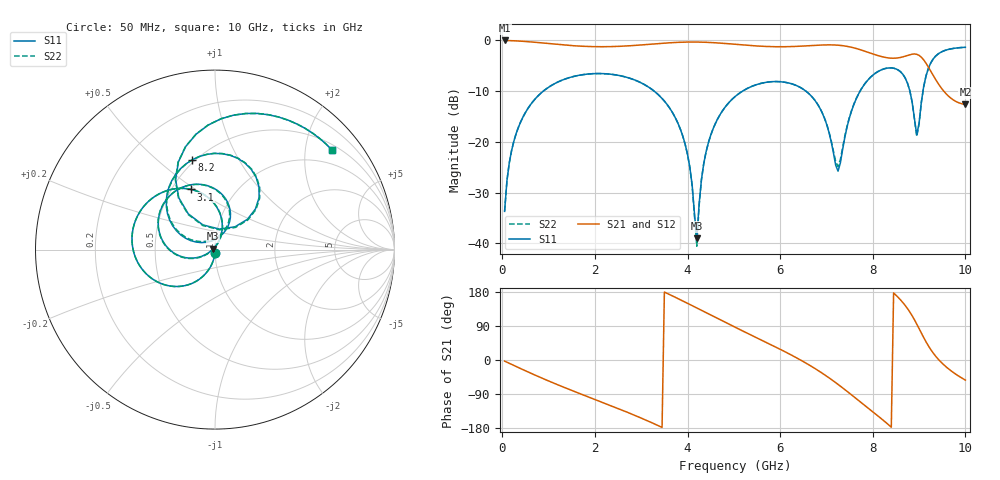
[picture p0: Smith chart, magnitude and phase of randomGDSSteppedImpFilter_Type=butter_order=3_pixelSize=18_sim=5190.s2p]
! freq	dB(S11)	phase(S11)	dB(S12)	phase(S12)
!  dB(S21)	phase(S21)	dB(S22)	phase(S22)
!S-par simulation data
#  GHz  S  DB  R 50
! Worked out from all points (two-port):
!   200 points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, 50 MHz to 10 GHz, reference 50 ohm
!   highest |S21| = -0.01 dB at 50 MHz (marker M1); lowest = -12.6 dB at 10 GHz (marker M2)
!   |S21| within 3 dB of the highest: start of sweep to 8.119 GHz; 8.732 GHz to 9.008 GHz (275.8 MHz wide, 3.11 % of centre)
!   lowest |S11| = -39.0 dB at 4.2 GHz (marker M3), VSWR 1.02, Z = 49 + j0.57 ohm
!   |S11| at or under -10 dB: start of sweep to 884.7 MHz; 3.28 GHz to 5.186 GHz (1.906 GHz wide, 45 % of centre); 6.556 GHz to 7.727 GHz (1.17 GHz wide, 16.4 % of centre) (the widest 3 of 4)
!   |S22| runs from -40.5 to -1.3 dB; largest |S21 - S12| = 0
!   S11 on the Smith chart (normalised r, x): 50 MHz: 1.00, -0.04; 3.1 GHz: 0.62, +0.48; 8.2 GHz: 0.48, +0.66; 10 GHz: 0.62, +2.58
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0.05  -33.68 -92.9  -0.01 -2.9  -0.01 -2.9  -33.68 -92.9
0.2  -21.73 -102.1  -0.05 -11.6  -0.05 -11.6  -21.73 -102.1
0.5  -14.20 -119.1  -0.21 -28.5  -0.21 -28.5  -14.20 -119.1
1.75  -6.73 177.2  -1.16 -92.3  -1.16 -92.3  -6.73 177.2
3.1  -8.86 111.7  -0.82 -158.6  -0.82 -158.6  -8.86 111.5
3.4  -10.97 95.8  -0.60 -175.0  -0.60 -175.0  -10.97 95.5
3.95  -20.51 67.8  -0.33 152.6  -0.33 152.6  -20.52 66.7
4.1  -28.54 68.4  -0.31 143.4  -0.31 143.4  -28.65 65.5
4.2  -39.01 148.8  -0.32 137.2  -0.32 137.2  -40.54 150.6
4.3  -27.43 -153.4  -0.34 131.0  -0.34 131.0  -27.52 -150.6
4.45  -20.16 -154.8  -0.39 121.8  -0.39 121.8  -20.17 -153.4
5.05  -10.89 172.9  -0.78 85.1  -0.78 85.1  -10.89 173.5
5.95  -8.11 121.1  -1.24 31.4  -1.24 31.4  -8.11 121.6
6.7  -11.24 75.3  -1.00 -18.6  -1.00 -18.6  -11.23 76.4
7.25  -25.76 112.1  -0.94 -64.4  -0.94 -64.4  -24.85 112.3
7.65  -11.36 150.6  -1.61 -102.6  -1.61 -102.6  -11.30 149.5
8.2  -5.75 104.3  -3.21 -156.4  -3.21 -156.4  -5.73 103.8
8.35  -5.42 90.6  -3.46 -171.9  -3.46 -171.9  -5.41 90.1
8.75  -8.42 49.6  -2.95 135.6  -2.95 135.6  -8.42 49.0
8.95  -18.65 77.8  -2.73 94.8  -2.73 94.8  -18.91 77.0
9.25  -4.47 105.8  -6.03 28.0  -6.03 28.0  -4.48 106.0
10  -1.35 40.5  -12.61 -53.1  -12.61 -53.1  -1.35 40.6
